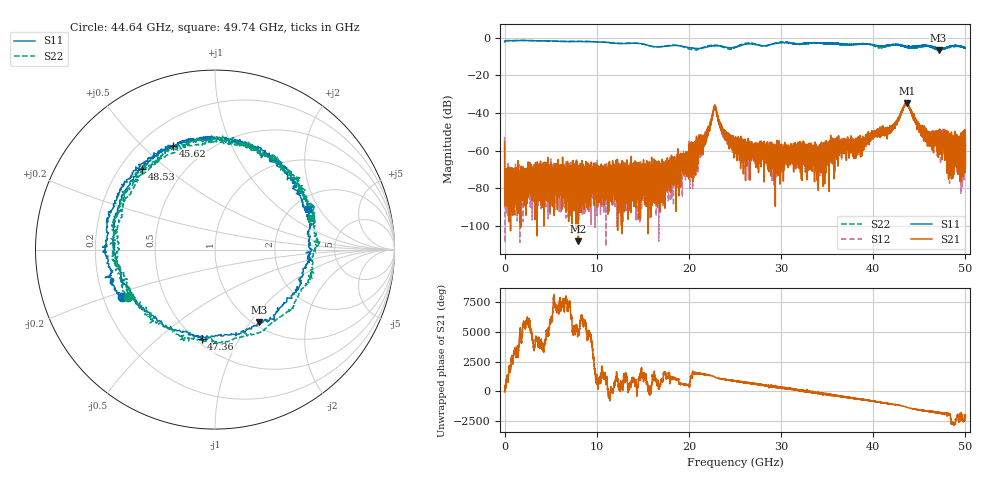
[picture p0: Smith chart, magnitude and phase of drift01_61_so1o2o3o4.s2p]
!Created with skrf (http://scikit-rf.org).
# Hz S RI R 50.0
!freq ReS11 ImS11 ReS21 ImS21 ReS12 ImS12 ReS22 ImS22
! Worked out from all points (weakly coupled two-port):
!   10001 points, 300 kHz to 50 GHz, reference 50 ohm
!   highest |S21| = -34.57 dB at 43.64 GHz (marker M1); lowest = -108.3 dB at 7.94 GHz (marker M2)
!   lowest |S11| = -6.5 dB at 47.09 GHz (marker M3), VSWR 2.81, Z = 52.9 - j55.4 ohm
!   |S11| at or under -10 dB: nowhere
!   |S22| runs from -6.4 to -1.4 dB; largest |S21 - S12| = 0.004
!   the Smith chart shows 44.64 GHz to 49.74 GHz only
!   S11 on the Smith chart (normalised r, x): 44.64 GHz: 0.28, -0.22; 45.62 GHz: 0.33, +0.62; 47.36 GHz: 0.53, -0.71; 48.53 GHz: 0.29, +0.41; 49.74 GHz: 2.40, +1.57
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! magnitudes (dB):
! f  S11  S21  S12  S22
! 300 kHz  -2.2  -55.3  -52.7  -2.1
! 255.3 MHz  -1.4  -79.2  -81.8  -1.4
! 7.94 GHz  -1.9  -108.3  -71.4  -1.8
! 8.335 GHz  -1.9  -69.3  -78.7  -1.8
! 16.67 GHz  -4.8  -81.4  -67.9  -4.8
! 20.63 GHz  -5.6  -63.4  -62.8  -6.3
! 21.76 GHz  -5.0  -51.9  -54.3  -4.7
! 22.8 GHz  -4.3  -35.8  -36.0  -4.0
! 23.71 GHz  -4.6  -48.6  -52.8  -4.8
! 25 GHz  -5.0  -60.4  -56.0  -5.0
! 29.47 GHz  -2.9  -63.2  -61.9  -2.7
! 31.85 GHz  -3.2  -64.2  -57.7  -3.3
! 33.34 GHz  -2.6  -59.4  -61.2  -2.7
! 41.67 GHz  -3.8  -49.4  -49.4  -4.2
! 43.64 GHz  -5.0  -34.6  -35.1  -4.8
! 44.64 GHz  -4.7  -43.9  -46.0  -5.2
! 45.62 GHz  -4.1  -54.5  -50.1  -4.3
! 47.09 GHz  -6.5  -56.7  -54.4  -5.7
! 47.36 GHz  -5.9  -58.0  -53.7  -5.6
! 48.53 GHz  -4.3  -63.1  -56.6  -4.6
! 49.74 GHz  -5.0  -59.4  -54.4  -5.0
! 50 GHz  -5.5  -53.3  -56.3  -5.3
